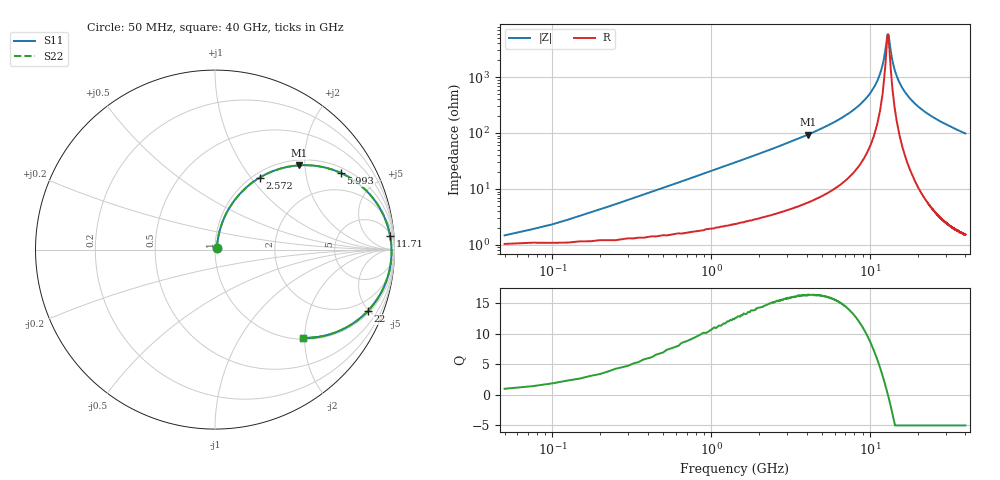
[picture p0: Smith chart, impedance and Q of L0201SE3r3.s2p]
# MHZ S MA R 50
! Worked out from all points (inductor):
!   1601 points, 50 MHz to 40 GHz, reference 50 ohm
!   read as one part in series: L = 3.31 nH near 249.8 MHz
!   highest Q = 16.4 at 4.07 GHz (marker M1), where L = 3.66 nH
!   self-resonance near 13 GHz
!   S11 on the Smith chart (normalised r, x): 50 MHz: 1.02, +0.02; 2.572 GHz: 1.07, +1.11; 5.993 GHz: 1.20, +3.15; 11.71 GHz: 7, +24; 22 GHz: 1.14, -4.91; 40 GHz: 1.03, -1.96
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50  0.015 44.1  0.99 -0.6  0.99 -0.6  0.015 44.1
399.563  0.083 75.9  0.983 -4.7  0.983 -4.7  0.083 75.9
799.063  0.162 74.7  0.97 -9.3  0.97 -9.3  0.162 74.7
1523.156  0.299 68.2  0.931 -17.4  0.931 -17.4  0.299 68.2
2571.844  0.473 58.1  0.851 -28.2  0.851 -28.2  0.473 58.1
4069.969  0.664 45.0  0.709 -41.5  0.709 -41.5  0.664 45.0
5992.563  0.821 31.3  0.52 -55.1  0.52 -55.1  0.821 31.3
6716.656  0.861 26.9  0.453 -59.3  0.453 -59.3  0.861 26.9
9812.781  0.958 11.7  0.203 -72.2  0.203 -72.2  0.958 11.7
11710.41  0.979 4.4  0.078 -72.1  0.078 -72.1  0.979 4.4
12259.72  0.982 2.5  0.046 -65.3  0.046 -65.3  0.982 2.5
12933.88  0.983 0.2  0.017 -13.1  0.017 -13.1  0.983 0.2
13108.66  0.984 -0.3  0.017 19.2  0.017 19.2  0.984 -0.3
13383.31  0.984 -1.2  0.026 51.3  0.026 51.3  0.984 -1.2
14157.34  0.983 -3.5  0.064 72.6  0.064 72.6  0.983 -3.5
15380.81  0.978 -7.0  0.123 76.4  0.123 76.4  0.978 -7.0
17153.59  0.967 -11.6  0.201 74.8  0.201 74.8  0.967 -11.6
20025  0.94 -18.0  0.31 69.9  0.31 69.9  0.94 -18.0
21997.53  0.917 -21.9  0.374 66.4  0.374 66.4  0.917 -21.9
26691.66  0.858 -29.8  0.497 59.1  0.497 59.1  0.858 -29.8
33358.31  0.773 -38.5  0.622 50.6  0.622 50.6  0.773 -38.5
40000  0.695 -45.1  0.708 44.0  0.708 44.0  0.695 -45.1
